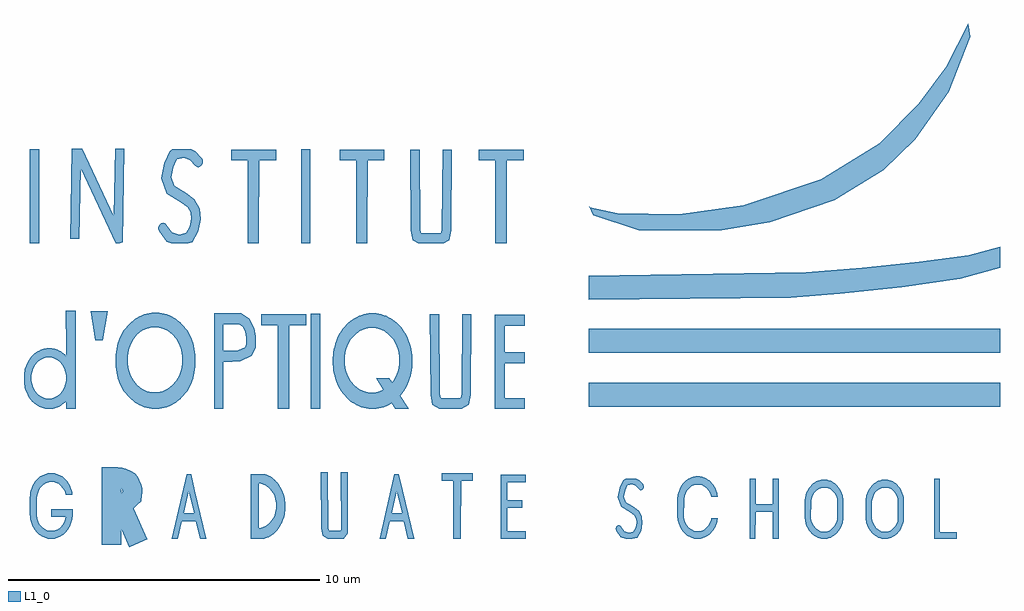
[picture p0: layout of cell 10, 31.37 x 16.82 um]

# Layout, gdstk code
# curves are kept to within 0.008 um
import gdstk
lib = gdstk.Library(unit=1e-6, precision=1e-09)
def R(c, l, rs):  # rectangles x0, y0, x1, y1
    for r in rs: c.add(gdstk.rectangle(r[:2], r[2:], *l))
def P(c, l, *ps):  # polygons
    for p in ps: c.add(gdstk.Polygon(p, *l))
L1_0 = (1, 0)

c_10 = lib.new_cell('10')
R(c_10, L1_0, [(-71.064,16.793,-70.765,19.854), (-62.129,16.87,-48.915,17.639), (-62.129,18.596,-48.915,19.365), (-80.099,22.115,-79.8,25.147), (-71.382,22.115,-71.084,25.147)])
P(c_10, L1_0, [(-70.516,12.619),(-70.681,12.715),(-70.727,12.953),(-70.74,14.751),(-70.52,14.751),(-70.507,12.983),(-70.49,12.889),(-70.464,12.874),(-70.114,12.874),(-70.093,12.903),(-70.107,14.751),(-69.887,14.751),(-69.887,12.792),(-70.011,12.619)],
  [(-69.612,22.115),(-69.612,24.781),(-70.14,24.781),(-70.14,25.129),(-69.327,25.129),(-69.327,25.122),(-68.7,25.122),(-68.7,24.781),(-69.244,24.781),(-69.254,22.416),(-69.253,22.416),(-69.253,22.115)],
  [(-65.134,22.115),(-65.134,24.781),(-65.662,24.781),(-65.662,25.129),(-64.849,25.129),(-64.849,25.122),(-64.221,25.122),(-64.221,24.781),(-64.765,24.781),(-64.775,22.416),(-64.775,22.416),(-64.775,22.115)],
  [(-67.613,22.115),(-67.787,22.216),(-67.849,22.541),(-67.869,25.127),(-67.57,25.127),(-67.55,22.581),(-67.526,22.453),(-67.491,22.433),(-66.91,22.433),(-66.876,22.453),(-66.851,22.581),(-66.832,25.126),(-66.533,25.126),(-66.552,22.541),(-66.615,22.216),(-66.788,22.115)],
  [(-74.177,16.793),(-74.177,19.872),(-73.299,19.864),(-73.039,19.699),(-72.946,19.516),(-73.879,19.516),(-73.879,18.657),(-73.602,18.657),(-73.407,18.674),(-73.182,18.782),(-73.14,18.87),(-73.14,19.091),(-73.167,19.267),(-73.254,19.439),(-73.375,19.516),(-72.946,19.516),(-72.883,19.389),(-72.842,19.122),(-72.842,18.78),(-72.972,18.506),(-73.337,18.332),(-73.591,18.309),(-73.879,18.309),(-73.879,16.793)],
  [(-72.127,16.793),(-72.127,19.489),(-72.655,19.489),(-72.655,19.837),(-71.842,19.837),(-71.842,19.83),(-71.215,19.83),(-71.215,19.489),(-71.758,19.489),(-71.768,17.123),(-71.768,17.123),(-71.768,16.793)],
  [(-69.122,16.793),(-69.359,16.828),(-69.588,16.913),(-69.73,16.998),(-69.862,17.102),(-70.036,17.293),(-70.135,17.44),(-70.217,17.601),(-70.305,17.86),(-70.35,18.134),(-70.355,18.433),(-70.325,18.71),(-70.251,18.974),(-70.135,19.219),(-69.983,19.434),(-69.798,19.613),(-69.588,19.747),(-69.359,19.833),(-69.201,19.862),(-69.042,19.868),(-68.804,19.833),(-68.576,19.747),(-68.366,19.613),(-68.239,19.498),(-68.152,19.398),(-69.187,19.398),(-69.356,19.359),(-69.515,19.283),(-69.658,19.17),(-69.78,19.029),(-69.876,18.862),(-69.941,18.677),(-69.976,18.48),(-69.976,18.237),(-69.941,18.039),(-69.876,17.855),(-69.78,17.688),(-69.658,17.546),(-69.515,17.434),(-69.356,17.357),(-69.187,17.319),(-69.014,17.319),(-68.844,17.357),(-68.733,17.411),(-68.967,17.784),(-68.543,17.784),(-68.456,17.646),(-68.42,17.688),(-68.324,17.855),(-68.258,18.039),(-68.225,18.237),(-68.225,18.48),(-68.258,18.677),(-68.324,18.862),(-68.42,19.029),(-68.542,19.17),(-68.686,19.283),(-68.844,19.359),(-69.014,19.398),(-68.152,19.398),(-67.985,19.141),(-67.884,18.889),(-67.824,18.619),(-67.809,18.227),(-67.839,17.951),(-67.913,17.685),(-68.028,17.44),(-68.188,17.219),(-67.922,16.799),(-68.346,16.799),(-68.461,16.981),(-68.65,16.879),(-68.804,16.828),(-68.962,16.799)],
  [(-66.398,16.793),(-66.933,16.793),(-67.158,16.924),(-67.22,17.249),(-67.239,19.834),(-66.941,19.834),(-66.921,17.289),(-66.897,17.161),(-66.863,17.141),(-66.281,17.141),(-66.247,17.161),(-66.222,17.288),(-66.203,19.834),(-65.904,19.834),(-65.923,17.248),(-65.986,16.924),(-66.211,16.793)],
  [(-65.152,16.793),(-65.152,19.819),(-65.134,19.819),(-65.134,19.818),(-64.191,19.818),(-64.191,19.471),(-64.835,19.471),(-64.835,18.615),(-64.191,18.615),(-64.191,18.268),(-64.835,18.268),(-64.835,17.141),(-64.191,17.141),(-64.191,16.793)],
  [(-66.489,12.619),(-66.489,14.488),(-66.854,14.488),(-66.854,14.728),(-66.291,14.728),(-66.291,14.724),(-65.856,14.724),(-65.856,14.488),(-66.233,14.488),(-66.24,12.848),(-66.24,12.848),(-66.24,12.619)],
  [(-64.967,12.619),(-64.967,14.678),(-64.954,14.678),(-64.954,14.678),(-64.151,14.678),(-64.151,14.441),(-64.75,14.441),(-64.75,13.859),(-64.27,13.859),(-64.27,13.623),(-64.75,13.623),(-64.75,12.855),(-64.151,12.855),(-64.151,12.619)],
  [(-51.033,12.619),(-51.033,14.547),(-50.846,14.547),(-50.846,12.838),(-50.305,12.838),(-50.305,12.619)],
  [(-77.754,18.994),(-78.003,19),(-78.141,19.934),(-78.122,19.934),(-78.122,19.941),(-77.59,19.941)],
  [(-78.936,16.793),(-78.936,17.035),(-79.023,16.956),(-79.157,16.87),(-79.253,16.83),(-79.402,16.796),(-79.554,16.796),(-79.703,16.83),(-79.845,16.895),(-79.933,16.956),(-80.085,17.111),(-80.146,17.204),(-80.22,17.36),(-80.277,17.586),(-80.283,17.894),(-80.267,18.011),(-80.22,18.178),(-80.116,18.382),(-79.974,18.549),(-79.845,18.644),(-79.752,18.69),(-79.655,18.724),(-79.503,18.746),(-79.302,18.724),(-79.111,18.644),(-78.936,18.503),(-78.943,19.955),(-78.626,19.955),(-78.628,18.447),(-79.545,18.447),(-79.652,18.423),(-79.753,18.374),(-79.844,18.303),(-79.921,18.213),(-79.982,18.107),(-80.024,17.99),(-80.045,17.865),(-80.045,17.71),(-80.024,17.585),(-79.982,17.467),(-79.921,17.361),(-79.844,17.271),(-79.753,17.201),(-79.652,17.152),(-79.545,17.126),(-79.435,17.126),(-79.327,17.152),(-79.227,17.201),(-79.135,17.271),(-79.058,17.361),(-78.997,17.467),(-78.955,17.585),(-78.936,17.698),(-78.936,17.877),(-78.955,17.99),(-78.997,18.107),(-79.058,18.213),(-79.135,18.303),(-79.227,18.374),(-79.327,18.423),(-79.435,18.447),(-78.628,18.447),(-78.628,16.793)],
  [(-77.329,22.115),(-78.466,24.536),(-78.503,22.264),(-78.801,22.27),(-78.756,25.157),(-78.417,25.157),(-77.394,22.979),(-77.359,25.157),(-77.06,25.157),(-77.109,22.144),(-77.209,22.115)],
  [(-73.094,22.115),(-73.094,24.781),(-73.621,24.781),(-73.621,25.129),(-72.181,25.129),(-72.181,24.781),(-72.725,24.781),(-72.735,22.416),(-72.734,22.416),(-72.734,22.115)],
  [(-75.554,22.115),(-75.701,22.161),(-75.941,22.5),(-75.963,22.563),(-75.963,22.631),(-75.921,22.721),(-75.845,22.769),(-75.758,22.758),(-75.71,22.721),(-75.531,22.468),(-75.294,22.393),(-75.067,22.457),(-74.959,22.646),(-74.909,22.908),(-74.929,23.111),(-75.023,23.278),(-75.24,23.444),(-75.699,23.711),(-75.868,24.206),(-75.775,24.684),(-75.596,25.075),(-75.519,25.133),(-75.465,25.147),(-74.914,25.147),(-74.781,25.084),(-74.575,24.858),(-74.547,24.799),(-74.539,24.731),(-74.571,24.637),(-74.642,24.577),(-74.729,24.576),(-74.782,24.606),(-74.945,24.786),(-75.135,24.875),(-75.378,24.813),(-75.492,24.562),(-75.556,24.233),(-75.463,23.963),(-75.091,23.746),(-74.806,23.529),(-74.64,23.231),(-74.607,22.89),(-74.679,22.507),(-74.883,22.152),(-75.013,22.115)],
  [(-79.433,12.619),(-79.601,12.65),(-79.759,12.729),(-79.895,12.852),(-80.001,13.01),(-80.069,13.193),(-80.092,13.341),(-80.096,13.961),(-80.069,14.158),(-80.021,14.298),(-79.952,14.425),(-79.864,14.534),(-79.759,14.622),(-79.642,14.686),(-79.518,14.723),(-79.389,14.733),(-79.261,14.714),(-79.179,14.686),(-79.061,14.622),(-78.958,14.534),(-78.869,14.425),(-78.8,14.298),(-78.753,14.158),(-78.731,14.042),(-78.946,14.042),(-78.982,14.156),(-79.033,14.246),(-79.098,14.323),(-79.174,14.383),(-79.259,14.426),(-79.35,14.449),(-79.443,14.451),(-79.533,14.429),(-79.62,14.39),(-79.698,14.331),(-79.764,14.256),(-79.816,14.166),(-79.852,14.067),(-79.872,13.963),(-79.878,13.374),(-79.861,13.267),(-79.826,13.168),(-79.776,13.077),(-79.711,13),(-79.635,12.939),(-79.549,12.896),(-79.459,12.874),(-79.365,12.873),(-79.275,12.892),(-79.188,12.933),(-79.111,12.991),(-79.045,13.067),(-78.992,13.156),(-78.942,13.331),(-79.406,13.331),(-79.406,13.574),(-78.723,13.574),(-78.723,13.331),(-78.766,13.146),(-78.8,13.054),(-78.869,12.927),(-78.958,12.818),(-79.061,12.729),(-79.179,12.666),(-79.303,12.628)],
  [(-75.533,12.619),(-75.062,14.687),(-74.916,14.687),(-74.792,14.162),(-74.987,14.162),(-75.153,13.434),(-74.816,13.434),(-74.987,14.162),(-74.792,14.162),(-74.43,12.619),(-74.625,12.619),(-74.758,13.186),(-75.209,13.186),(-75.338,12.619)],
  [(-58.654,12.619),(-58.815,12.649),(-58.965,12.724),(-59.094,12.841),(-59.194,12.99),(-59.246,13.12),(-59.277,13.257),(-59.284,13.894),(-59.277,13.989),(-59.231,14.171),(-59.172,14.296),(-59.064,14.438),(-58.965,14.522),(-58.854,14.582),(-58.735,14.618),(-58.613,14.628),(-58.491,14.609),(-58.375,14.565),(-58.267,14.497),(-58.203,14.438),(-58.119,14.334),(-58.053,14.214),(-58.008,14.081),(-57.989,13.97),(-58.191,13.97),(-58.226,14.079),(-58.275,14.165),(-58.336,14.238),(-58.409,14.296),(-58.489,14.336),(-58.576,14.358),(-58.664,14.358),(-58.751,14.34),(-58.832,14.301),(-58.906,14.246),(-58.969,14.174),(-59.018,14.09),(-59.053,13.996),(-59.072,13.895),(-59.077,13.336),(-59.061,13.235),(-59.028,13.14),(-58.98,13.054),(-58.919,12.981),(-58.846,12.923),(-58.765,12.883),(-58.679,12.861),(-58.591,12.86),(-58.504,12.879),(-58.422,12.917),(-58.349,12.973),(-58.286,13.045),(-58.237,13.129),(-58.19,13.288),(-57.988,13.288),(-58.008,13.164),(-58.053,13.032),(-58.119,12.912),(-58.203,12.808),(-58.302,12.724),(-58.413,12.663),(-58.531,12.628)],
  [(-56.963,12.619),(-56.961,14.555),(-56.772,14.555),(-56.773,13.737),(-56.224,13.737),(-56.224,14.555),(-56.024,14.555),(-56.024,12.619),(-56.224,12.619),(-56.224,13.495),(-56.773,13.495),(-56.774,12.619)],
  [(-52.634,12.619),(-52.787,12.647),(-52.928,12.719),(-53.05,12.828),(-53.145,12.971),(-53.195,13.093),(-53.228,13.268),(-53.23,13.826),(-53.207,14.005),(-53.164,14.13),(-53.102,14.244),(-53.022,14.343),(-52.928,14.422),(-52.824,14.479),(-52.712,14.513),(-52.595,14.522),(-52.443,14.493),(-52.335,14.444),(-52.206,14.343),(-52.145,14.266),(-52.644,14.266),(-52.726,14.249),(-52.803,14.213),(-52.873,14.16),(-52.933,14.092),(-53.013,13.923),(-53.03,13.828),(-53.035,13.298),(-53.02,13.203),(-52.989,13.113),(-52.943,13.031),(-52.885,12.962),(-52.816,12.906),(-52.74,12.869),(-52.659,12.848),(-52.575,12.847),(-52.493,12.865),(-52.415,12.901),(-52.344,12.955),(-52.238,13.102),(-52.205,13.191),(-52.195,13.246),(-52.196,13.9),(-52.23,14.002),(-52.274,14.083),(-52.333,14.152),(-52.402,14.208),(-52.479,14.246),(-52.56,14.266),(-52.644,14.266),(-52.145,14.266),(-52.105,14.208),(-52.034,14.047),(-52.005,13.908),(-52.005,13.232),(-52.034,13.093),(-52.083,12.971),(-52.206,12.798),(-52.301,12.719),(-52.406,12.661),(-52.48,12.635)],
  [(-76.098,16.793),(-76.338,16.828),(-76.569,16.915),(-76.711,17),(-76.846,17.105),(-77.022,17.298),(-77.163,17.525),(-77.266,17.78),(-77.326,18.051),(-77.341,18.447),(-77.311,18.725),(-77.266,18.906),(-77.202,19.078),(-77.072,19.315),(-76.907,19.52),(-76.711,19.685),(-76.493,19.805),(-76.259,19.875),(-76.017,19.892),(-75.778,19.858),(-75.623,19.805),(-75.475,19.731),(-75.271,19.58),(-75.12,19.418),(-76.163,19.418),(-76.333,19.379),(-76.495,19.302),(-76.638,19.19),(-76.762,19.047),(-76.859,18.879),(-76.926,18.693),(-76.959,18.494),(-76.959,18.249),(-76.926,18.05),(-76.859,17.863),(-76.762,17.695),(-76.638,17.552),(-76.495,17.44),(-76.333,17.362),(-76.163,17.323),(-75.99,17.323),(-75.819,17.362),(-75.659,17.44),(-75.515,17.552),(-75.392,17.695),(-75.295,17.863),(-75.228,18.05),(-75.195,18.249),(-75.195,18.494),(-75.228,18.693),(-75.295,18.879),(-75.392,19.047),(-75.515,19.19),(-75.659,19.302),(-75.819,19.379),(-75.99,19.418),(-75.12,19.418),(-74.953,19.16),(-74.85,18.906),(-74.79,18.633),(-74.775,18.238),(-74.79,18.051),(-74.825,17.869),(-74.914,17.607),(-75.044,17.37),(-75.209,17.165),(-75.405,17),(-75.623,16.88),(-75.857,16.81)],
  [(-62.129,20.311),(-62.129,21.08),(-55.15,21.192),(-53.346,21.338),(-51.518,21.522),(-49.923,21.734),(-48.915,22.001),(-48.915,21.334),(-50.185,20.974),(-52.066,20.711),(-54.058,20.502),(-55.646,20.363)],
  [(-60.522,22.541),(-61.987,23.023),(-62.125,23.312),(-62.125,23.281),(-61.212,23.088),(-59.222,23.056),(-57.147,23.344),(-54.659,24.181),(-52.778,25.34),(-51.534,26.596),(-50.649,27.786),(-49.929,29.17),(-49.875,28.751),(-50.566,26.981),(-51.644,25.469),(-52.667,24.471),(-54.244,23.506),(-56.317,22.797),(-57.866,22.541)],
  [(-72.985,12.619),(-72.998,12.624),(-72.998,14.699),(-72.543,14.699),(-72.425,14.65),(-72.325,14.592),(-72.234,14.519),(-72.13,14.408),(-72.739,14.408),(-72.739,12.958),(-72.613,12.984),(-72.501,13.039),(-72.402,13.116),(-72.317,13.215),(-72.249,13.331),(-72.204,13.46),(-72.18,13.598),(-72.18,13.767),(-72.204,13.904),(-72.249,14.034),(-72.317,14.15),(-72.402,14.249),(-72.501,14.326),(-72.613,14.38),(-72.731,14.408),(-72.13,14.408),(-72.111,14.386),(-71.986,14.171),(-71.911,13.928),(-71.89,13.735),(-71.89,13.591),(-71.911,13.398),(-71.986,13.154),(-72.076,12.99),(-72.191,12.849),(-72.325,12.734),(-72.425,12.675),(-72.57,12.619)],
  [(-68.852,12.619),(-68.381,14.687),(-68.234,14.687),(-68.11,14.162),(-68.305,14.162),(-68.471,13.434),(-68.135,13.434),(-68.305,14.162),(-68.11,14.162),(-67.748,12.619),(-67.944,12.619),(-68.076,13.186),(-68.527,13.186),(-68.657,12.619)],
  [(-60.944,12.619),(-61.097,12.667),(-61.257,12.899),(-61.264,12.941),(-61.248,13.002),(-61.205,13.043),(-61.133,13.043),(-61.103,13.019),(-60.99,12.86),(-60.84,12.813),(-60.698,12.853),(-60.63,12.973),(-60.598,13.137),(-60.61,13.265),(-60.67,13.371),(-60.807,13.474),(-61.096,13.644),(-61.202,13.954),(-61.143,14.256),(-61.031,14.503),(-60.949,14.548),(-60.602,14.548),(-60.517,14.508),(-60.387,14.365),(-60.365,14.286),(-60.385,14.226),(-60.448,14.184),(-60.502,14.195),(-60.621,14.32),(-60.74,14.376),(-60.894,14.338),(-60.966,14.179),(-61.005,13.972),(-60.947,13.801),(-60.713,13.665),(-60.533,13.528),(-60.429,13.341),(-60.408,13.125),(-60.454,12.885),(-60.581,12.661),(-60.73,12.619)],
  [(-54.589,12.619),(-54.741,12.647),(-54.883,12.719),(-55.005,12.828),(-55.1,12.971),(-55.151,13.093),(-55.179,13.224),(-55.186,13.827),(-55.162,14.005),(-55.119,14.13),(-55.08,14.208),(-54.978,14.342),(-54.883,14.422),(-54.778,14.479),(-54.667,14.513),(-54.55,14.522),(-54.398,14.493),(-54.29,14.444),(-54.192,14.371),(-54.1,14.266),(-54.598,14.266),(-54.681,14.249),(-54.758,14.213),(-54.829,14.16),(-54.888,14.092),(-54.935,14.013),(-54.985,13.828),(-54.99,13.298),(-54.944,13.112),(-54.898,13.031),(-54.84,12.962),(-54.771,12.907),(-54.695,12.869),(-54.613,12.848),(-54.529,12.847),(-54.447,12.865),(-54.37,12.901),(-54.3,12.955),(-54.24,13.022),(-54.193,13.102),(-54.161,13.191),(-54.15,13.246),(-54.151,13.9),(-54.184,14.002),(-54.23,14.083),(-54.288,14.152),(-54.357,14.208),(-54.433,14.246),(-54.515,14.266),(-54.598,14.266),(-54.1,14.266),(-54.059,14.208),(-53.989,14.048),(-53.96,13.909),(-53.96,13.232),(-53.977,13.136),(-54.02,13.01),(-54.083,12.896),(-54.162,12.798),(-54.256,12.719),(-54.361,12.661),(-54.473,12.628)])
c_10.add(gdstk.FlexPath([(-77.469,12.737),(-77.469,14.605),(-77.293,14.605),(-77.192,14.594),(-77.118,14.57),(-77.002,14.524),(-76.931,14.483),(-76.891,14.436),(-76.861,14.373),(-76.817,14.279),(-76.806,14.202),(-76.802,14.15),(-76.806,14.121),(-76.811,14.069),(-76.821,13.97),(-76.872,13.923),(-76.962,13.835),(-77.042,13.805),(-77.097,13.788),(-77.167,13.759),(-76.741,12.766)], 0.63, ends="round", simple_path=True, layer=1, datatype=0))  # L1_0

lib.write_gds('10.gds')
